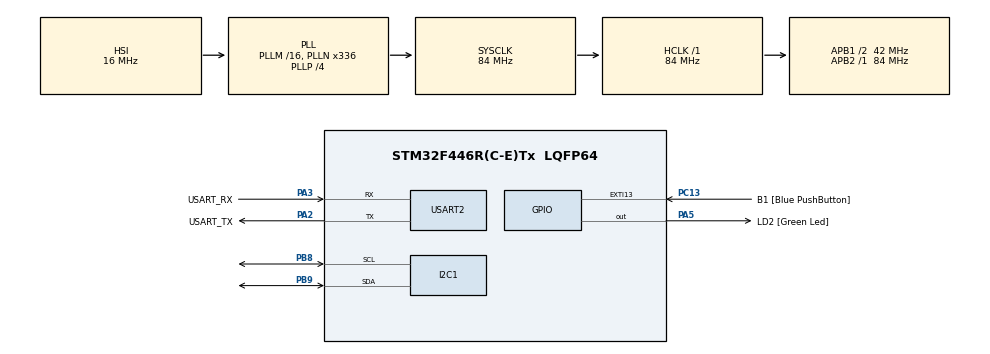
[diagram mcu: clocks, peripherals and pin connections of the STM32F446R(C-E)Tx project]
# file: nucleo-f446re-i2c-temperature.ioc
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Mcu.Family=STM32F4
Mcu.Name=STM32F446R(C-E)Tx
Mcu.Package=LQFP64
NVIC.PriorityGroup=NVIC_PRIORITYGROUP_0
PA13.GPIO_Label=TMS
PA13.Mode=Serial_Wire
PA13.Signal=SYS_JTMS-SWDIO
PA14.GPIO_Label=TCK
PA14.Mode=Serial_Wire
PA14.Signal=SYS_JTCK-SWCLK
PA2.GPIO_Label=USART_TX
PA2.Mode=Asynchronous
PA2.Signal=USART2_TX
PA3.GPIO_Label=USART_RX
PA3.Mode=Asynchronous
PA3.Signal=USART2_RX
PA5.GPIO_Label=LD2 [Green Led]
PA5.Signal=GPIO_Output
PB3.GPIO_Label=SWO
PB3.Signal=SYS_JTDO-SWO
PB8.Mode=I2C
PB8.Signal=I2C1_SCL
PB9.Mode=I2C
PB9.Signal=I2C1_SDA
PC13.GPIO_Label=B1 [Blue PushButton]
PC13.GPIO_ModeDefaultEXTI=GPIO_MODE_IT_FALLING
PC13.Signal=GPXTI13
PC14-OSC32_IN.Mode=LSE-External-Oscillator
PC14-OSC32_IN.Signal=RCC_OSC32_IN
PC15-OSC32_OUT.Mode=LSE-External-Oscillator
PC15-OSC32_OUT.Signal=RCC_OSC32_OUT
PH0-OSC_IN.Mode=HSE-External-Oscillator
PH0-OSC_IN.Signal=RCC_OSC_IN
PH1-OSC_OUT.Mode=HSE-External-Oscillator
PH1-OSC_OUT.Signal=RCC_OSC_OUT
ProjectManager.HeapSize=0x200
ProjectManager.StackSize=0x400
ProjectManager.TargetToolchain=STM32CubeIDE
RCC.48MHZClocksFreq_Value=84000000
RCC.AHBFreq_Value=84000000
RCC.APB1CLKDivider=RCC_HCLK_DIV2
RCC.APB1Freq_Value=42000000
RCC.APB1TimFreq_Value=84000000
RCC.APB2Freq_Value=84000000
RCC.APB2TimFreq_Value=84000000
RCC.CortexFreq_Value=84000000
RCC.FLatency-AdvancedSettings=FLASH_LATENCY_2
RCC.HCLKFreq_Value=84000000
RCC.HSE_VALUE=8000000
RCC.HSI_VALUE=16000000
RCC.PLLN=336
RCC.PLLP=RCC_PLLP_DIV4
RCC.SYSCLKFreq_VALUE=84000000
RCC.SYSCLKSource=RCC_SYSCLKSOURCE_PLLCLK
RCC.USBFreq_Value=168000000
RCC.VCOOutputFreq_Value=336000000
USART2.VirtualMode=VM_ASYNC
board=NUCLEO-F446RE

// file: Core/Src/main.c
/* USER CODE BEGIN Header */
/**
  ******************************************************************************
  * @file           : main.c
  * @brief          : Main program body
  ******************************************************************************
  * @attention
  *
  * Copyright (c) 2024 STMicroelectronics.
  * All rights reserved.
  *
  * This software is licensed under terms that can be found in the LICENSE file
  * in the root directory of this software component.
  * If no LICENSE file comes with this software, it is provided AS-IS.
  *
  ******************************************************************************
  */
/* USER CODE END Header */
#include "main.h"

/* USER CODE BEGIN Includes */
#include <string.h>
#include <stdio.h>
/* USER CODE END Includes */

I2C_HandleTypeDef hi2c1;

UART_HandleTypeDef huart2;

/* USER CODE BEGIN PV */
static const uint8_t TMP102_ADDR = 0x48 << 1; // Address of TMP102, but because it's 7 bit so left shift by 1
static const uint8_t REG_TEMP = 0x00; // Address of the temperature register, use later to read temperature values out
/* USER CODE END PV */

void SystemClock_Config(void);
static void MX_GPIO_Init(void);
static void MX_USART2_UART_Init(void);
static void MX_I2C1_Init(void);

int main(void)
{

  /* USER CODE BEGIN 1 */
  HAL_StatusTypeDef ret; // For storing the return values from communication
  uint8_t buf[16]; // Buffer to temporarily storing string to send to computer
  int16_t val; // Signed 16 bit integer for storing raw temperature value
  float temp_c; // For storing processed temperature value, will be transmitted to PC through UART
  /* USER CODE END 1 */

  /* MCU Configuration--------------------------------------------------------*/

  /* Reset of all peripherals, Initializes the Flash interface and the Systick. */
  HAL_Init();

  /* Configure the system clock */
  SystemClock_Config();

  /* Initialize all configured peripherals */
  MX_GPIO_Init();
  MX_USART2_UART_Init();
  MX_I2C1_Init();

  /* Infinite loop */
  /* USER CODE BEGIN WHILE */
  while (1)
  {
	 // Tells TMP102 that I want to read data from the temperature register
	 // Configure the pointer register first to prepare for the read operation later
	 buf[0] = REG_TEMP;
	 // Transmit 1 byte
	 ret = HAL_I2C_Master_Transmit(&hi2c1, TMP102_ADDR, buf, 1, HAL_MAX_DELAY); // HAL_MAX_DELAY set the function as a timeout function, so the code won't continue until this I2C communication is conducted
	 if (ret != HAL_OK) {
		 strcpy((char*)buf, "Error Tx\r\n");
	 } else {
		 // Reads 2 bytes from the temperature register
		 ret = HAL_I2C_Master_Receive(&hi2c1, TMP102_ADDR, buf, 2, HAL_MAX_DELAY); // HAL_MAX_DELAY set the function as a timeout function, so the code won't continue until this I2C communication is conducted
		 if (ret != HAL_OK) {
			 strcpy((char*)buf, "Error Tx\r\n");
		 } else {
			 // Combine the bytes
			 // Byte 1 is the most significant bit
			 // Byte 2 is the least significant bit
			 val = ((int16_t)buf[0] << 4) | (buf[1] >> 4);

			 // Check if the value is negative, check for 2's complement, see if value is greater than 0b0000 0111 1111 1111
			 // Convert to 2's complement, since temperature can be negative
			 if (val > 0x7FF) {
				 val |= 0xF000; // If value is negative, do sign extension
			 }

			 // Convert to float temperature value (Celsius)
			 temp_c = val * 0.0625;

			 // Convert temperature to decimal format
			 // The 02 in %02u add padding to the integer ensuring it's at least two digits long, 7 -> 07
			 temp_c *= 100;
			 sprintf((char*)buf,
					 "%u.%02u C\r\n",
					 ((unsigned int)temp_c / 100),
					 ((unsigned int)temp_c % 100));
		 }
	 }

	 // Send out the message in the buffer to PC, could be temperature value or error message
	 HAL_UART_Transmit(&huart2, buf, strlen((char*)buf), HAL_MAX_DELAY);
	 HAL_Delay(500);

	 // Sample data rate at twice per second
	 HAL_Delay(500);

    /* USER CODE END WHILE */

  }
}

void SystemClock_Config(void)
{
  RCC_OscInitTypeDef RCC_OscInitStruct = {0};
  RCC_ClkInitTypeDef RCC_ClkInitStruct = {0};

  /** Configure the main internal regulator output voltage
  */
  __HAL_RCC_PWR_CLK_ENABLE();
  __HAL_PWR_VOLTAGESCALING_CONFIG(PWR_REGULATOR_VOLTAGE_SCALE3);

  /** Initializes the RCC Oscillators according to the specified parameters
  * in the RCC_OscInitTypeDef structure.
  */
  RCC_OscInitStruct.OscillatorType = RCC_OSCILLATORTYPE_HSI;
  RCC_OscInitStruct.HSIState = RCC_HSI_ON;
  RCC_OscInitStruct.HSICalibrationValue = RCC_HSICALIBRATION_DEFAULT;
  RCC_OscInitStruct.PLL.PLLState = RCC_PLL_ON;
  RCC_OscInitStruct.PLL.PLLSource = RCC_PLLSOURCE_HSI;
  RCC_OscInitStruct.PLL.PLLM = 16;
  RCC_OscInitStruct.PLL.PLLN = 336;
  RCC_OscInitStruct.PLL.PLLP = RCC_PLLP_DIV4;
  RCC_OscInitStruct.PLL.PLLQ = 2;
  RCC_OscInitStruct.PLL.PLLR = 2;
  if (HAL_RCC_OscConfig(&RCC_OscInitStruct) != HAL_OK)
  {
    Error_Handler();
  }

  /** Initializes the CPU, AHB and APB buses clocks
  */
  RCC_ClkInitStruct.ClockType = RCC_CLOCKTYPE_HCLK|RCC_CLOCKTYPE_SYSCLK
                              |RCC_CLOCKTYPE_PCLK1|RCC_CLOCKTYPE_PCLK2;
  RCC_ClkInitStruct.SYSCLKSource = RCC_SYSCLKSOURCE_PLLCLK;
  RCC_ClkInitStruct.AHBCLKDivider = RCC_SYSCLK_DIV1;
  RCC_ClkInitStruct.APB1CLKDivider = RCC_HCLK_DIV2;
  RCC_ClkInitStruct.APB2CLKDivider = RCC_HCLK_DIV1;

  if (HAL_RCC_ClockConfig(&RCC_ClkInitStruct, FLASH_LATENCY_2) != HAL_OK)
  {
    Error_Handler();
  }
}

static void MX_I2C1_Init(void)
{

  hi2c1.Instance = I2C1;
  hi2c1.Init.ClockSpeed = 100000;
  hi2c1.Init.DutyCycle = I2C_DUTYCYCLE_2;
  hi2c1.Init.OwnAddress1 = 0;
  hi2c1.Init.AddressingMode = I2C_ADDRESSINGMODE_7BIT;
  hi2c1.Init.DualAddressMode = I2C_DUALADDRESS_DISABLE;
  hi2c1.Init.OwnAddress2 = 0;
  hi2c1.Init.GeneralCallMode = I2C_GENERALCALL_DISABLE;
  hi2c1.Init.NoStretchMode = I2C_NOSTRETCH_DISABLE;
  if (HAL_I2C_Init(&hi2c1) != HAL_OK)
  {
    Error_Handler();
  }

}

static void MX_USART2_UART_Init(void)
{

  huart2.Instance = USART2;
  huart2.Init.BaudRate = 115200;
  huart2.Init.WordLength = UART_WORDLENGTH_8B;
  huart2.Init.StopBits = UART_STOPBITS_1;
  huart2.Init.Parity = UART_PARITY_NONE;
  huart2.Init.Mode = UART_MODE_TX_RX;
  huart2.Init.HwFlowCtl = UART_HWCONTROL_NONE;
  huart2.Init.OverSampling = UART_OVERSAMPLING_16;
  if (HAL_UART_Init(&huart2) != HAL_OK)
  {
    Error_Handler();
  }

}

static void MX_GPIO_Init(void)
{
  GPIO_InitTypeDef GPIO_InitStruct = {0};

  /* GPIO Ports Clock Enable */
  __HAL_RCC_GPIOC_CLK_ENABLE();
  __HAL_RCC_GPIOH_CLK_ENABLE();
  __HAL_RCC_GPIOA_CLK_ENABLE();
  __HAL_RCC_GPIOB_CLK_ENABLE();

  /*Configure GPIO pin Output Level */
  HAL_GPIO_WritePin(LD2_GPIO_Port, LD2_Pin, GPIO_PIN_RESET);

  /*Configure GPIO pin : B1_Pin */
  GPIO_InitStruct.Pin = B1_Pin;
  GPIO_InitStruct.Mode = GPIO_MODE_IT_FALLING;
  GPIO_InitStruct.Pull = GPIO_NOPULL;
  HAL_GPIO_Init(B1_GPIO_Port, &GPIO_InitStruct);

  /*Configure GPIO pin : LD2_Pin */
  GPIO_InitStruct.Pin = LD2_Pin;
  GPIO_InitStruct.Mode = GPIO_MODE_OUTPUT_PP;
  GPIO_InitStruct.Pull = GPIO_NOPULL;
  GPIO_InitStruct.Speed = GPIO_SPEED_FREQ_LOW;
  HAL_GPIO_Init(LD2_GPIO_Port, &GPIO_InitStruct);

}

void Error_Handler(void)
{
  __disable_irq();
  while (1)
  {
  }
}
